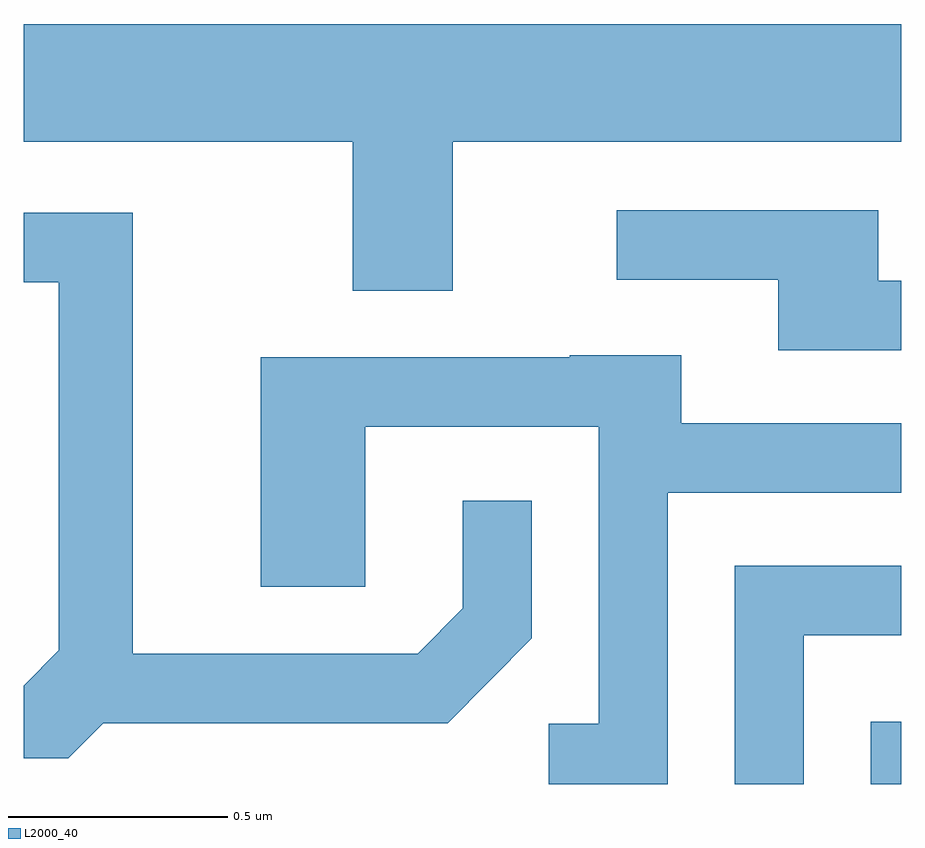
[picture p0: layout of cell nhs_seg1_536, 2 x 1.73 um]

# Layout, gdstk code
import gdstk
lib = gdstk.Library(unit=1e-6, precision=1e-09)
def R(c, l, rs):  # rectangles x0, y0, x1, y1
    for r in rs: c.add(gdstk.rectangle(r[:2], r[2:], *l))
def P(c, l, *ps):  # polygons
    for p in ps: c.add(gdstk.Polygon(p, *l))
L2000_40 = (2000, 40)

nhs_seg1_536 = lib.new_cell('nhs_seg1_536')
R(nhs_seg1_536, L2000_40, [(190.541,964.712,190.611,964.854)])
P(nhs_seg1_536, L2000_40, [(189.589,966.176),(190.611,966.176),(190.611,966.444),(188.611,966.444),(188.611,966.176),(189.361,966.176),(189.361,965.836),(189.589,965.836)],
  [(190.611,965.859),(190.559,965.859),(190.559,966.019),(189.963,966.019),(189.963,965.861),(190.331,965.861),(190.331,965.701),(190.611,965.701)],
  [(188.792,964.851),(189.577,964.851),(189.769,965.044),(189.769,965.358),(189.611,965.358),(189.611,965.112),(189.509,965.009),(188.859,965.009),(188.859,966.014),(188.611,966.014),(188.611,965.856),(188.691,965.856),(188.691,965.017),(188.611,964.936),(188.611,964.771),(188.712,964.771)],
  [(190.079,965.376),(190.611,965.376),(190.611,965.534),(190.109,965.534),(190.109,965.689),(189.855,965.689),(189.855,965.684),(189.151,965.684),(189.151,965.161),(189.389,965.161),(189.389,965.526),(189.921,965.526),(189.921,964.849),(189.808,964.849),(189.808,964.712),(190.079,964.712)],
  [(190.389,965.051),(190.611,965.051),(190.611,965.209),(190.231,965.209),(190.231,964.712),(190.389,964.712)])

lib.write_gds('nhs_seg1_536.gds')
